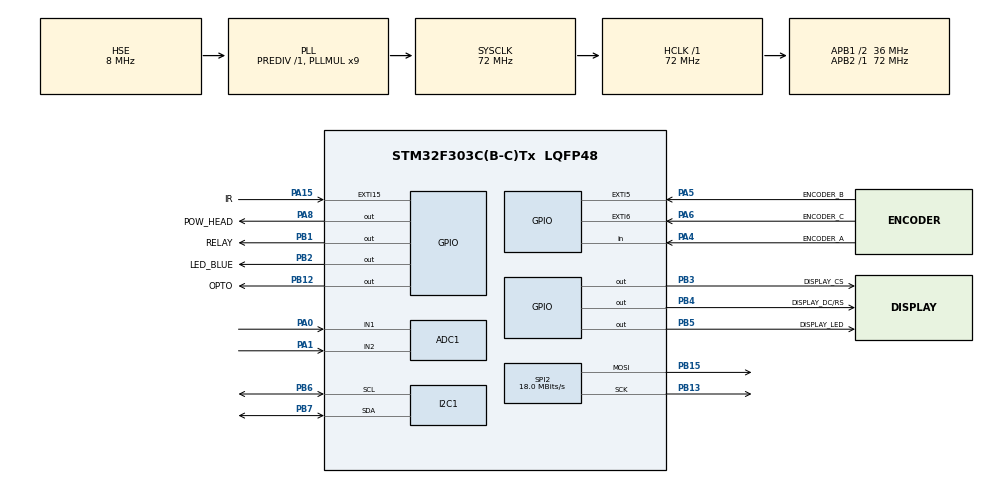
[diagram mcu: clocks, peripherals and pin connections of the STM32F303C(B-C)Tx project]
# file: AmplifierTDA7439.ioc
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ADC1.ClockPrescaler=ADC_CLOCK_ASYNC_DIV1
ADC1.EOCSelection=ADC_EOC_SEQ_CONV
ADC1.EnableRegularConversion=DISABLE
ADC1.InjNumberOfConversion=2
ADC1.InjectedChannel-5\#ChannelInjectedConversion=ADC_CHANNEL_2
ADC1.InjectedChannel-6\#ChannelInjectedConversion=ADC_CHANNEL_1
ADC1.InjectedOffset-5\#ChannelInjectedConversion=0
ADC1.InjectedOffset-6\#ChannelInjectedConversion=0
ADC1.InjectedOffsetNumber-5\#ChannelInjectedConversion=ADC_OFFSET_NONE
ADC1.InjectedOffsetNumber-6\#ChannelInjectedConversion=ADC_OFFSET_NONE
ADC1.InjectedRank-5\#ChannelInjectedConversion=1
ADC1.InjectedRank-6\#ChannelInjectedConversion=2
ADC1.InjectedSamplingTime-5\#ChannelInjectedConversion=ADC_SAMPLETIME_601CYCLES_5
ADC1.InjectedSamplingTime-6\#ChannelInjectedConversion=ADC_SAMPLETIME_601CYCLES_5
ADC1.master=1
CRC.InputDataFormat=CRC_INPUTDATA_FORMAT_WORDS
FREERTOS.Tasks01=defaultTask,0,128,StartDefaultTask,Default,NULL,Dynamic,NULL,NULL;TaskVU,-2,128,StartTaskVU,Default,NULL,Dynamic,NULL,NULL
FREERTOS.configUSE_TICK_HOOK=1
I2C1.Timing=0x10808DD3
Mcu.Family=STM32F3
Mcu.Name=STM32F303C(B-C)Tx
Mcu.Package=LQFP48
NVIC.EXTI15_10_IRQn=true\:0\:0\:true\:false\:true\:false\:true\:true
NVIC.EXTI9_5_IRQn=true\:0\:0\:true\:false\:true\:false\:true\:true
NVIC.PriorityGroup=NVIC_PRIORITYGROUP_4
NVIC.TIM3_IRQn=true\:0\:0\:false\:false\:true\:false\:false\:true
NVIC.TimeBase=TIM3_IRQn
NVIC.TimeBaseIP=TIM3
PA0.Mode=IN1-Single-Ended
PA0.Signal=ADC1_IN1
PA1.Mode=IN2-Single-Ended
PA1.Signal=ADC1_IN2
PA13.Mode=Serial_Wire
PA13.Signal=SYS_JTMS-SWDIO
PA14.Mode=Serial_Wire
PA14.Signal=SYS_JTCK-SWCLK
PA15.GPIO_Label=IR
PA15.GPIO_ModeDefaultEXTI=GPIO_MODE_IT_FALLING
PA15.Signal=GPXTI15
PA4.GPIO_Label=ENCODER_A
PA4.Signal=GPIO_Input
PA5.GPIO_Label=ENCODER_B
PA5.GPIO_ModeDefaultEXTI=GPIO_MODE_IT_RISING
PA5.Signal=GPXTI5
PA6.GPIO_Label=ENCODER_C
PA6.GPIO_ModeDefaultEXTI=GPIO_MODE_IT_RISING
PA6.Signal=GPXTI6
PA8.GPIO_Label=POW_HEAD
PA8.GPIO_Speed=GPIO_SPEED_FREQ_LOW
PA8.Signal=GPIO_Output
PB1.GPIO_Label=RELAY
PB1.Signal=GPIO_Output
PB12.GPIO_Label=OPTO
PB12.GPIO_Speed=GPIO_SPEED_FREQ_LOW
PB12.Signal=GPIO_Output
PB13.Mode=TX_Only_Simplex_Unidirect_Master
PB13.Signal=SPI2_SCK
PB15.Mode=TX_Only_Simplex_Unidirect_Master
PB15.Signal=SPI2_MOSI
PB2.GPIO_Label=LED_BLUE
PB2.Signal=GPIO_Output
PB3.GPIO_Label=DISPLAY_CS
PB3.GPIO_Speed=GPIO_SPEED_FREQ_HIGH
PB3.Signal=GPIO_Output
PB4.GPIO_Label=DISPLAY_DC/RS
PB4.GPIO_Speed=GPIO_SPEED_FREQ_HIGH
PB4.Signal=GPIO_Output
PB5.GPIO_Label=DISPLAY_LED
PB5.GPIO_Speed=GPIO_SPEED_FREQ_HIGH
PB5.Signal=GPIO_Output
PB6.Mode=I2C
PB6.Signal=I2C1_SCL
PB7.Mode=I2C
PB7.Signal=I2C1_SDA
PF0-OSC_IN.Mode=HSE-External-Oscillator
PF0-OSC_IN.Signal=RCC_OSC_IN
PF1-OSC_OUT.Mode=HSE-External-Oscillator
PF1-OSC_OUT.Signal=RCC_OSC_OUT
ProjectManager.HeapSize=0x200
ProjectManager.StackSize=0x400
ProjectManager.TargetToolchain=STM32CubeIDE
RCC.AHBFreq_Value=72000000
RCC.APB1CLKDivider=RCC_HCLK_DIV2
RCC.APB1Freq_Value=36000000
RCC.APB1TimFreq_Value=72000000
RCC.APB2Freq_Value=72000000
RCC.APB2TimFreq_Value=72000000
RCC.CortexFreq_Value=72000000
RCC.HCLKFreq_Value=72000000
RCC.HSE_VALUE=8000000
RCC.HSI_VALUE=8000000
RCC.I2c1ClockSelection=RCC_I2C1CLKSOURCE_SYSCLK
RCC.LSE_VALUE=32768
RCC.PLLMUL=RCC_PLL_MUL9
RCC.PLLSourceVirtual=RCC_PLLSOURCE_HSE
RCC.SYSCLKFreq_VALUE=72000000
RCC.SYSCLKSourceVirtual=RCC_SYSCLKSOURCE_PLLCLK
RCC.USBFreq_Value=72000000
SPI2.CalculateBaudRate=18.0 MBits/s
SPI2.DataSize=SPI_DATASIZE_8BIT
SPI2.Direction=SPI_DIRECTION_2LINES
SPI2.Mode=SPI_MODE_MASTER
SPI2.NSSPMode=SPI_NSS_PULSE_DISABLE
SPI2.VirtualType=VM_MASTER
TIM2.AutoReloadPreload=TIM_AUTORELOAD_PRELOAD_DISABLE
TIM2.ClockDivision=TIM_CLOCKDIVISION_DIV1
TIM2.CounterMode=TIM_COUNTERMODE_UP
TIM2.Period=0xFFFFFFFF
TIM2.Prescaler=71
TIM2.TIM_MasterOutputTrigger=TIM_TRGO_RESET
VP_CRC_VS_CRC.Mode=CRC_Activate
VP_FREERTOS_VS_CMSIS_V1.Mode=CMSIS_V1
VP_SYS_VS_tim3.Mode=TIM3
VP_TIM2_VS_ClockSourceINT.Mode=Internal
board=custom

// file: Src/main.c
/* USER CODE BEGIN Header */
/**
  ******************************************************************************
  * @file           : main.c
  * @brief          : Main program body
  ******************************************************************************
  * @attention
  *
  * <h2><center>&copy; Copyright (c) 2019 STMicroelectronics.
  * All rights reserved.</center></h2>
  *
  * This software component is licensed by ST under BSD 3-Clause license,
  * the "License"; You may not use this file except in compliance with the
  * License. You may obtain a copy of the License at:
  *                        opensource.org/licenses/BSD-3-Clause
  *
  ******************************************************************************
  */
/* USER CODE END Header */

#include "main.h"
#include "cmsis_os.h"
#include "adc.h"
#include "crc.h"
#include "i2c.h"
#include "spi.h"
#include "tim.h"
#include "gpio.h"

void SystemClock_Config(void);
void MX_FREERTOS_Init(void);

int main(void)
{

  /* MCU Configuration--------------------------------------------------------*/

  /* Reset of all peripherals, Initializes the Flash interface and the Systick. */
  HAL_Init();

  /* Configure the system clock */
  SystemClock_Config();

  /* Initialize all configured peripherals */
  MX_GPIO_Init();
  MX_SPI2_Init();
  MX_I2C1_Init();
  MX_ADC1_Init();
  MX_CRC_Init();
  MX_TIM2_Init();
  /* USER CODE BEGIN 2 */
  HAL_Delay(1000);
  HAL_ADCEx_Calibration_Start(&hadc1, ADC_SINGLE_ENDED);
  HAL_GPIO_WritePin(LED_BLUE_GPIO_Port, LED_BLUE_Pin, GPIO_PIN_SET);
  HAL_TIM_Base_Start(&htim2); // Start timer for NEC protocol
  /* USER CODE END 2 */

  /* Call init function for freertos objects (in freertos.c) */
  MX_FREERTOS_Init();

  /* Start scheduler */
  osKernelStart();

  /* We should never get here as control is now taken by the scheduler */

  /* Infinite loop */
  while (1)
  {

  }
}

void SystemClock_Config(void)
{
  RCC_OscInitTypeDef RCC_OscInitStruct = {0};
  RCC_ClkInitTypeDef RCC_ClkInitStruct = {0};
  RCC_PeriphCLKInitTypeDef PeriphClkInit = {0};

  /** Initializes the CPU, AHB and APB busses clocks
  */
  RCC_OscInitStruct.OscillatorType = RCC_OSCILLATORTYPE_HSE;
  RCC_OscInitStruct.HSEState = RCC_HSE_ON;
  RCC_OscInitStruct.HSEPredivValue = RCC_HSE_PREDIV_DIV1;
  RCC_OscInitStruct.HSIState = RCC_HSI_ON;
  RCC_OscInitStruct.PLL.PLLState = RCC_PLL_ON;
  RCC_OscInitStruct.PLL.PLLSource = RCC_PLLSOURCE_HSE;
  RCC_OscInitStruct.PLL.PLLMUL = RCC_PLL_MUL9;
  if (HAL_RCC_OscConfig(&RCC_OscInitStruct) != HAL_OK)
  {
    Error_Handler();
  }
  /** Initializes the CPU, AHB and APB busses clocks
  */
  RCC_ClkInitStruct.ClockType = RCC_CLOCKTYPE_HCLK|RCC_CLOCKTYPE_SYSCLK
                              |RCC_CLOCKTYPE_PCLK1|RCC_CLOCKTYPE_PCLK2;
  RCC_ClkInitStruct.SYSCLKSource = RCC_SYSCLKSOURCE_PLLCLK;
  RCC_ClkInitStruct.AHBCLKDivider = RCC_SYSCLK_DIV1;
  RCC_ClkInitStruct.APB1CLKDivider = RCC_HCLK_DIV2;
  RCC_ClkInitStruct.APB2CLKDivider = RCC_HCLK_DIV1;

  if (HAL_RCC_ClockConfig(&RCC_ClkInitStruct, FLASH_LATENCY_2) != HAL_OK)
  {
    Error_Handler();
  }
  PeriphClkInit.PeriphClockSelection = RCC_PERIPHCLK_I2C1|RCC_PERIPHCLK_ADC12;
  PeriphClkInit.Adc12ClockSelection = RCC_ADC12PLLCLK_DIV1;
  PeriphClkInit.I2c1ClockSelection = RCC_I2C1CLKSOURCE_SYSCLK;
  if (HAL_RCCEx_PeriphCLKConfig(&PeriphClkInit) != HAL_OK)
  {
    Error_Handler();
  }
}

void HAL_TIM_PeriodElapsedCallback(TIM_HandleTypeDef *htim)
{
  if (htim->Instance == TIM3) {
    HAL_IncTick();
  }
}

void Error_Handler(void)
{
}

/************************ (C) COPYRIGHT STMicroelectronics *****END OF FILE****/

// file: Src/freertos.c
/* USER CODE BEGIN Header */
/**
  ******************************************************************************
  * File Name          : freertos.c
  * Description        : Code for freertos applications
  ******************************************************************************
  * @attention
  *
  * <h2><center>&copy; Copyright (c) 2019 STMicroelectronics.
  * All rights reserved.</center></h2>
  *
  * This software component is licensed by ST under Ultimate Liberty license
  * SLA0044, the "License"; You may not use this file except in compliance with
  * the License. You may obtain a copy of the License at:
  *                             www.st.com/SLA0044
  *
  ******************************************************************************
  */
/* USER CODE END Header */

#include "FreeRTOS.h"
#include "task.h"
#include "main.h"
#include "cmsis_os.h"

/* USER CODE BEGIN Includes */
#include "TDA7439/TDA7439.h"
#include "VU/vu.h"
#include "ILI9488/ILI9488_STM32_Driver.h"
#include "ILI9488/ILI9488_GFX.h"
#include "adc.h"
#include <stdlib.h>
#include <math.h>
#include "IR/NEC.h"
/* USER CODE END Includes */

/* USER CODE BEGIN PM */
#define	ADC_N				2
// ===
#define ADC_K_IIR			0.0001f	// coef. IIR filters (it needs to be calculated according ADC_FREQ_DIF)
#define ADC_REF_0DB 		1024.0f	// reference value corresponding to 0 dB
#define	ADC_CONST_OFFSET	2042.0f	// init value for IIR filters
#define	ADC_FREQ_DIV		30

/* USER CODE END PM */

/* USER CODE BEGIN Variables */
__IO EncoderRotate_t EncoderRotate = ENCODER_ROTATE_NO;

/* USER CODE END Variables */
osThreadId defaultTaskHandle;
osThreadId TaskVUHandle;

/* USER CODE BEGIN FunctionPrototypes */
static int16_t realToInt(float value);
static int16_t ConvertTo_dB(int16_t value);

/* USER CODE END FunctionPrototypes */

void StartDefaultTask(void const * argument);
void StartTaskVU(void const * argument);

void MX_FREERTOS_Init(void); /* (MISRA C 2004 rule 8.1) */

/* Hook prototypes */
void vApplicationTickHook(void);

/* USER CODE BEGIN 3 */
void vApplicationTickHook(void)
{
	/*
	 * vApplicationTickHook not calling while task in critical section
	 * */
	// ===
	NEC_Tick();
}

static int16_t realToInt(float value)
{
	return (int16_t)(value < 0 ? value - 0.5f : value + 0.5f);
}

static int16_t ConvertTo_dB(int16_t value)
{
	float res;
	if(value == 0)
		value = 1;
    res = -20.0f * (float)log10(ADC_REF_0DB / value);
    if(res < 0.0f)
        return ((int16_t)res) - 1;
    else
        return (int16_t)res;
}

/* USER CODE END 3 */

void MX_FREERTOS_Init(void) {

  /* Create the thread(s) */
  /* definition and creation of defaultTask */
  osThreadDef(defaultTask, StartDefaultTask, osPriorityNormal, 0, 128);
  defaultTaskHandle = osThreadCreate(osThread(defaultTask), NULL);

  /* definition and creation of TaskVU */
  osThreadDef(TaskVU, StartTaskVU, osPriorityLow, 0, 128);
  TaskVUHandle = osThreadCreate(osThread(TaskVU), NULL);

}

void StartDefaultTask(void const * argument)
{

  /* USER CODE BEGIN StartDefaultTask */
  /* Infinite loop */
  for(;;)
  {
	  TDA7439_EncoderButton(HAL_GPIO_ReadPin(ENCODER_A_GPIO_Port, ENCODER_A_Pin));
	  // ---
	  TDA7439_EncoderRotate(EncoderRotate);
	  EncoderRotate = ENCODER_ROTATE_NO;
	  // ---
	  TDA7439_ButtonCode(NEC_GetCommand());
	  // ---
	  osDelay(25); // should be less than period of commands NEC protocol
  }
  /* USER CODE END StartDefaultTask */
}

void StartTaskVU(void const * argument)
{
  /* USER CODE BEGIN StartTaskVU */
  /* Infinite loop */
  for(;;)
  {
	  taskENTER_CRITICAL();
	  if(TDA7439_GetAmplifierState())
	  {
		  static int16_t DB_Signals[ADC_N] = { 0x8000, 0x8000 };
		  static float AVG_F[ADC_N] = { ADC_CONST_OFFSET, ADC_CONST_OFFSET };
		  static int16_t Max_Signals[ADC_N] = { 0, 0 };
		  static int16_t adc_counter = -1;
		  int16_t ADC_Values[ADC_N];
		  int16_t i_channel;
		  // ---
		  for(i_channel = 0; i_channel < ADC_N; i_channel++)
			  ADC_Values[i_channel] = (int16_t)HAL_ADCEx_InjectedGetValue(&hadc1, ADC_INJECTED_RANK_1 + i_channel);
		  // ---
		  HAL_ADCEx_InjectedStart(&hadc1);
		  // ---
		  for(i_channel = 0; i_channel < ADC_N; i_channel++)
		  {
			  const int16_t signal = abs(ADC_Values[i_channel] - realToInt(AVG_F[i_channel]));
			  if(signal > Max_Signals[i_channel])
				  Max_Signals[i_channel] = signal;
			  // ---
			  AVG_F[i_channel] = AVG_F[i_channel] * (1.0f - ADC_K_IIR) + ADC_Values[i_channel] * ADC_K_IIR;
		  }
		  // ---
		  adc_counter++;
		  if(0 == (adc_counter % ADC_FREQ_DIV))
		  {
			  for(i_channel = 0; i_channel < ADC_N; i_channel++)
			  {
				  DB_Signals[i_channel] = ConvertTo_dB(Max_Signals[i_channel]);
				  Max_Signals[i_channel] = 0;
			  }
			  adc_counter = 0;
		  }
		  // ===
		  VU_DisplaySignal(DB_Signals);
	  }
	  taskEXIT_CRITICAL();
	  osDelay(1);
  }
  /* USER CODE END StartTaskVU */
}

/* USER CODE BEGIN Application */
void HAL_GPIO_EXTI_Callback(uint16_t GPIO_Pin)
{
	switch(GPIO_Pin)
	{
		case ENCODER_C_Pin:
			if(HAL_GPIO_ReadPin(ENCODER_B_GPIO_Port, ENCODER_B_Pin) == GPIO_PIN_RESET)
				EncoderRotate = ENCODER_ROTATE_R;
			break;
		case ENCODER_B_Pin:
			if(HAL_GPIO_ReadPin(ENCODER_C_GPIO_Port, ENCODER_C_Pin) == GPIO_PIN_RESET)
				EncoderRotate = ENCODER_ROTATE_L;
			break;
		case IR_Pin:
			NEC_SignalEdge();
			break;
		default:
			break;
	}
}
/* USER CODE END Application */

/************************ (C) COPYRIGHT STMicroelectronics *****END OF FILE****/
